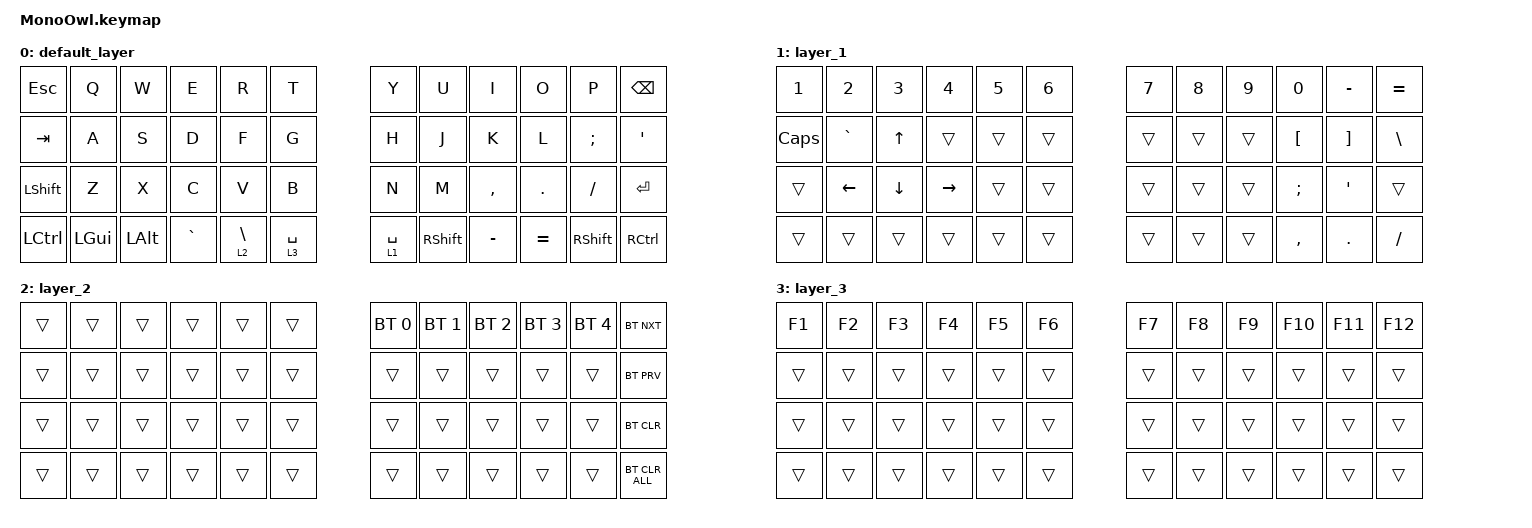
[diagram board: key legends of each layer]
#include <behaviors.dtsi>
#include <dt-bindings/zmk/bt.h>
#include <dt-bindings/zmk/keys.h>

&mt {
    flavor = "balanced";
    quick-tap-ms = <0>;
};

/ {
    combos { compatible = "zmk,combos"; };

    macros {
        to_layer_0: to_layer_0 {
            compatible = "zmk,behavior-macro-one-param";
            #binding-cells = <1>;
            bindings = <&to 0 &macro_param_1to1 &kp MACRO_PLACEHOLDER>;
            label = "TO_LAYER_0";
        };
    };

    lt_to_layer_0: lt_to_layer_0 {
        compatible = "zmk,behavior-hold-tap";
        label = "LAYER_TAP_TO_0";
        bindings = <&mo>, <&to_layer_0>;

        #binding-cells = <2>;
        tapping-term-ms = <200>;
    };
};

/ {
    behaviors {
    };

    keymap {
        compatible = "zmk,keymap";

        default_layer {
            bindings = <
&kp ESC    &kp Q     &kp W     &kp E      &kp R            &kp T          &kp Y        &kp U      &kp I      &kp O      &kp P      &kp BSPC
&kp TAB    &kp A     &kp S     &kp D      &kp F            &kp G          &kp H        &kp J      &kp K      &kp L      &kp SEMI   &kp APOS
&kp LSHFT  &kp Z     &kp X     &kp C      &kp V            &kp B          &kp N        &kp M      &kp COMMA  &kp DOT    &kp FSLH   &kp ENTER
&kp LCTRL  &kp LGUI  &kp LALT  &kp GRAVE  &lt 2 BACKSLASH  &lt 3 SPACE    &lt 1 SPACE  &kp RSHFT  &kp MINUS  &kp EQUAL  &kp RSHFT  &kp RCTRL
            >;
        };

        layer_1 {
            bindings = <
&kp N1    &kp N2          &kp N3          &kp N4           &kp N5  &kp N6    &kp N7  &kp N8  &kp N9  &kp N0     &kp MINUS  &kp EQUAL
&kp CAPS  &kp GRAVE       &kp UP_ARROW    &trans           &trans  &trans    &trans  &trans  &trans  &kp LBKT   &kp RBKT   &kp BSLH
&trans    &kp LEFT_ARROW  &kp DOWN_ARROW  &kp RIGHT_ARROW  &trans  &trans    &trans  &trans  &trans  &kp SEMI   &kp APOS   &trans
&trans    &trans          &trans          &trans           &trans  &trans    &trans  &trans  &trans  &kp COMMA  &kp DOT    &kp FSLH
            >;
        };

        layer_2 {
            bindings = <
&trans  &trans  &trans  &trans  &trans  &trans    &bt BT_SEL 0  &bt BT_SEL 1  &bt BT_SEL 2  &bt BT_SEL 3  &bt BT_SEL 4  &bt BT_NXT
&trans  &trans  &trans  &trans  &trans  &trans    &trans        &trans        &trans        &trans        &trans        &bt BT_PRV
&trans  &trans  &trans  &trans  &trans  &trans    &trans        &trans        &trans        &trans        &trans        &bt BT_CLR
&trans  &trans  &trans  &trans  &trans  &trans    &trans        &trans        &trans        &trans        &trans        &bt BT_CLR_ALL
            >;
        };

        layer_3 {
            bindings = <
&kp F1  &kp F2  &kp F3  &kp F4  &kp F5  &kp F6    &kp F7  &kp F8  &kp F9  &kp F10  &kp F11  &kp F12
&trans  &trans  &trans  &trans  &trans  &trans    &trans  &trans  &trans  &trans   &trans   &trans
&trans  &trans  &trans  &trans  &trans  &trans    &trans  &trans  &trans  &trans   &trans   &trans
&trans  &trans  &trans  &trans  &trans  &trans    &trans  &trans  &trans  &trans   &trans   &trans
            >;
        };
    };
};
